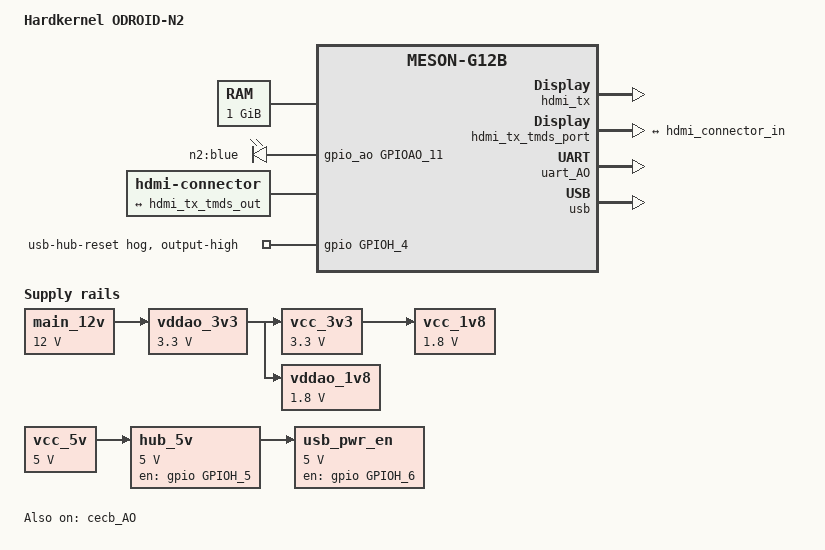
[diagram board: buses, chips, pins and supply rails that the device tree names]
// SPDX-License-Identifier: (GPL-2.0+ OR MIT)
/*
 * Copyright (c) 2019 BayLibre, SAS
 * Author: Neil Armstrong <narmstrong@baylibre.com>
 */

/dts-v1/;

#include "meson-g12b.dtsi"
#include <dt-bindings/input/input.h>
#include <dt-bindings/gpio/meson-g12a-gpio.h>

/ {
	compatible = "hardkernel,odroid-n2", "amlogic,g12b";
	model = "Hardkernel ODROID-N2";

	aliases {
		serial0 = &uart_AO;
	};

	chosen {
		stdout-path = "serial0:115200n8";
	};

	memory@0 {
		device_type = "memory";
		reg = <0x0 0x0 0x0 0x40000000>;
	};

	leds {
		compatible = "gpio-leds";

		blue {
			label = "n2:blue";
			gpios = <&gpio_ao GPIOAO_11 GPIO_ACTIVE_HIGH>;
			linux,default-trigger = "heartbeat";
		};
	};

	main_12v: regulator-main_12v {
		compatible = "regulator-fixed";
		regulator-name = "12V";
		regulator-min-microvolt = <12000000>;
		regulator-max-microvolt = <12000000>;
		regulator-always-on;
	};

	vcc_5v: regulator-vcc_5v {
		compatible = "regulator-fixed";
		regulator-name = "5V";
		regulator-min-microvolt = <5000000>;
		regulator-max-microvolt = <5000000>;
		regulator-always-on;
	};

	vcc_1v8: regulator-vcc_1v8 {
		compatible = "regulator-fixed";
		regulator-name = "VCC_1V8";
		regulator-min-microvolt = <1800000>;
		regulator-max-microvolt = <1800000>;
		vin-supply = <&vcc_3v3>;
		regulator-always-on;
	};

	vcc_3v3: regulator-vcc_3v3 {
		compatible = "regulator-fixed";
		regulator-name = "VCC_3V3";
		regulator-min-microvolt = <3300000>;
		regulator-max-microvolt = <3300000>;
		vin-supply = <&vddao_3v3>;
		regulator-always-on;
		/* FIXME: actually controlled by VDDCPU_B_EN */
	};

	hub_5v: regulator-hub_5v {
		compatible = "regulator-fixed";
		regulator-name = "HUB_5V";
		regulator-min-microvolt = <5000000>;
		regulator-max-microvolt = <5000000>;
		vin-supply = <&vcc_5v>;

		gpio = <&gpio GPIOH_5 GPIO_ACTIVE_HIGH>;
		enable-active-high;
	};

	usb_pwr_en: regulator-usb_pwr_en {
		compatible = "regulator-fixed";
		regulator-name = "USB_PWR_EN";
		regulator-min-microvolt = <5000000>;
		regulator-max-microvolt = <5000000>;
		vin-supply = <&hub_5v>;

		gpio = <&gpio GPIOH_6 GPIO_ACTIVE_HIGH>;
		enable-active-high;
	};

	vddao_1v8: regulator-vddao_1v8 {
		compatible = "regulator-fixed";
		regulator-name = "VDDAO_1V8";
		regulator-min-microvolt = <1800000>;
		regulator-max-microvolt = <1800000>;
		vin-supply = <&vddao_3v3>;
		regulator-always-on;
	};

	vddao_3v3: regulator-vddao_3v3 {
		compatible = "regulator-fixed";
		regulator-name = "VDDAO_3V3";
		regulator-min-microvolt = <3300000>;
		regulator-max-microvolt = <3300000>;
		vin-supply = <&main_12v>;
		regulator-always-on;
	};

	hdmi-connector {
		compatible = "hdmi-connector";
		type = "a";

		port {
			hdmi_connector_in: endpoint {
				remote-endpoint = <&hdmi_tx_tmds_out>;
			};
		};
	};
};

&cec_AO {
	pinctrl-0 = <&cec_ao_a_h_pins>;
	pinctrl-names = "default";
	status = "disabled";
	hdmi-phandle = <&hdmi_tx>;
};

&cecb_AO {
	pinctrl-0 = <&cec_ao_b_h_pins>;
	pinctrl-names = "default";
	status = "okay";
	hdmi-phandle = <&hdmi_tx>;
};

&gpio {
	/*
	 * WARNING: The USB Hub on the Odroid-N2 needs a reset signal
	 * to be turned high in order to be detected by the USB Controller
	 * This signal should be handled by a USB specific power sequence
	 * in order to reset the Hub when USB bus is powered down.
	 */
	usb-hub {
		gpio-hog;
		gpios = <GPIOH_4 GPIO_ACTIVE_HIGH>;
		output-high;
		line-name = "usb-hub-reset";
	};
};

&hdmi_tx {
	status = "okay";
	pinctrl-0 = <&hdmitx_hpd_pins>, <&hdmitx_ddc_pins>;
	pinctrl-names = "default";
	hdmi-supply = <&vcc_5v>;
};

&hdmi_tx_tmds_port {
	hdmi_tx_tmds_out: endpoint {
		remote-endpoint = <&hdmi_connector_in>;
	};
};

&uart_AO {
	status = "okay";
	pinctrl-0 = <&uart_ao_a_pins>;
	pinctrl-names = "default";
};

&usb {
	status = "okay";
};

&usb2_phy0 {
	phy-supply = <&usb_pwr_en>;
};

&usb2_phy1 {
	phy-supply = <&vcc_5v>;
};
